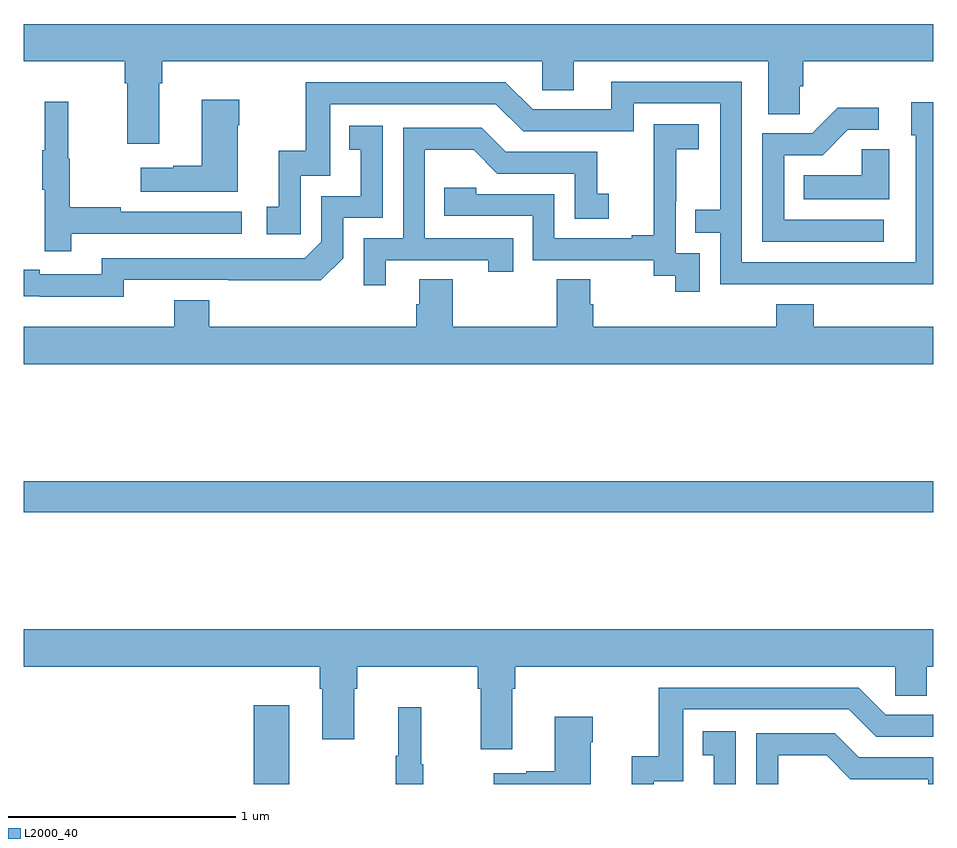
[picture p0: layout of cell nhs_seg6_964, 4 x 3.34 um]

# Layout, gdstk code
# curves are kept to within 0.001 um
import gdstk
lib = gdstk.Library(unit=1e-6, precision=1e-09)
def R(c, l, rs):  # rectangles x0, y0, x1, y1
    for r in rs: c.add(gdstk.rectangle(r[:2], r[2:], *l))
def P(c, l, *ps):  # polygons
    for p in ps: c.add(gdstk.Polygon(p, *l))
L2000_40 = (2000, 40)

nhs_seg6_964 = lib.new_cell('nhs_seg6_964')
R(nhs_seg6_964, L2000_40, [(172.01,933.5,172.168,933.847), (171,934.696,175,934.832)])
P(nhs_seg6_964, L2000_40, [(171.595,936.584),(171.608,936.584),(171.608,936.68),(173.28,936.68),(173.28,936.553),(173.419,936.553),(173.419,936.68),(174.275,936.68),(174.275,936.448),(174.414,936.448),(174.414,936.571),(174.428,936.571),(174.428,936.68),(175,936.68),(175,936.844),(171,936.844),(171,936.68),(171.443,936.68),(171.443,936.584),(171.455,936.584),(171.455,936.318),(171.595,936.318)],
  [(175,936.499),(174.905,936.499),(174.905,936.354),(174.924,936.354),(174.924,935.796),(174.159,935.796),(174.159,936.591),(173.585,936.591),(173.585,936.468),(173.238,936.468),(173.118,936.588),(172.239,936.588),(172.239,936.286),(172.121,936.286),(172.121,936.039),(172.068,936.039),(172.068,935.919),(172.218,935.919),(172.218,936.177),(172.347,936.177),(172.347,936.492),(173.076,936.492),(173.196,936.372),(173.682,936.372),(173.682,936.495),(174.063,936.495),(174.063,936.026),(173.953,936.026),(173.953,935.925),(174.063,935.925),(174.063,935.7),(175,935.699)],
  [(171.94,936.398),(171.948,936.398),(171.948,936.511),(171.782,936.511),(171.782,936.221),(171.656,936.221),(171.656,936.211),(171.513,936.211),(171.513,936.107),(171.94,936.107)],
  [(171.209,935.922),(171.958,935.922),(171.958,936.018),(171.425,936.018),(171.425,936.038),(171.202,936.038),(171.202,936.252),(171.194,936.252),(171.194,936.502),(171.092,936.502),(171.092,936.289),(171.081,936.289),(171.081,936.115),(171.092,936.115),(171.092,935.844),(171.209,935.844)],
  [(174.784,935.982),(174.345,935.982),(174.345,936.267),(174.514,936.267),(174.625,936.378),(174.76,936.378),(174.76,936.476),(174.581,936.476),(174.468,936.363),(174.249,936.363),(174.249,935.886),(174.784,935.886)],
  [(173.973,935.835),(173.868,935.835),(173.868,936.065),(173.87,936.065),(173.87,936.293),(173.968,936.293),(173.968,936.403),(173.77,936.403),(173.77,936.197),(173.771,936.197),(173.771,935.914),(173.675,935.914),(173.675,935.901),(173.334,935.901),(173.334,936.096),(172.989,936.096),(172.989,936.123),(172.849,936.123),(172.849,936),(173.238,936),(173.238,935.805),(173.772,935.805),(173.772,935.737),(173.865,935.737),(173.865,935.667),(173.973,935.667)],
  [(171.438,935.718),(172.306,935.717),(172.404,935.814),(172.404,935.991),(172.578,935.991),(172.578,936.397),(172.432,936.397),(172.432,936.291),(172.481,936.291),(172.481,936.087),(172.308,936.087),(172.308,935.886),(172.236,935.814),(171.342,935.814),(171.342,935.742),(171.07,935.742),(171.07,935.762),(171,935.762),(171,935.646),(171.438,935.645)],
  [(172.591,935.805),(173.042,935.805),(173.042,935.754),(173.153,935.754),(173.153,935.901),(172.764,935.901),(172.764,936.29),(172.978,936.29),(173.082,936.186),(173.424,936.186),(173.424,935.988),(173.572,935.988),(173.572,936.097),(173.523,936.097),(173.523,936.282),(173.119,936.282),(173.014,936.387),(172.668,936.387),(172.668,935.901),(172.494,935.901),(172.494,935.694),(172.591,935.694)],
  [(174.808,936.293),(174.687,936.293),(174.687,936.178),(174.43,936.178),(174.43,936.074),(174.808,936.074)],
  [(175,935.512),(174.476,935.512),(174.476,935.611),(174.311,935.611),(174.311,935.512),(173.504,935.512),(173.504,935.61),(173.491,935.61),(173.491,935.72),(173.344,935.72),(173.344,935.512),(172.887,935.512),(172.887,935.72),(172.739,935.72),(172.739,935.61),(172.727,935.61),(172.727,935.512),(171.815,935.512),(171.815,935.629),(171.662,935.629),(171.662,935.512),(171,935.512),(171,935.348),(175,935.348)],
  [(173.149,933.92),(173.162,933.92),(173.162,934.016),(174.834,934.016),(174.834,933.889),(174.973,933.889),(174.973,934.016),(175,934.016),(175,934.18),(171,934.18),(171,934.016),(172.301,934.016),(172.301,933.92),(172.313,933.92),(172.313,933.696),(172.453,933.696),(172.453,933.92),(172.466,933.92),(172.466,934.016),(172.997,934.016),(172.997,933.92),(173.009,933.92),(173.009,933.654),(173.149,933.654)],
  [(173.772,933.513),(173.901,933.513),(173.901,933.828),(174.63,933.828),(174.75,933.708),(175,933.708),(175,933.804),(174.792,933.804),(174.672,933.924),(173.793,933.924),(173.793,933.622),(173.675,933.622),(173.675,933.5),(173.772,933.5)],
  [(172.756,933.588),(172.748,933.588),(172.748,933.838),(172.646,933.838),(172.646,933.625),(172.635,933.625),(172.635,933.5),(172.756,933.5)],
  [(173.494,933.683),(173.502,933.683),(173.502,933.796),(173.336,933.796),(173.336,933.557),(173.21,933.557),(173.21,933.547),(173.067,933.547),(173.067,933.5),(173.494,933.5)],
  [(174.132,933.733),(173.986,933.733),(173.986,933.627),(174.035,933.627),(174.035,933.5),(174.132,933.5)],
  [(174.318,933.626),(174.532,933.626),(174.636,933.522),(174.978,933.522),(174.978,933.5),(175,933.5),(175,933.618),(174.673,933.618),(174.568,933.723),(174.222,933.723),(174.222,933.5),(174.318,933.5)])

lib.write_gds('nhs_seg6_964.gds')
